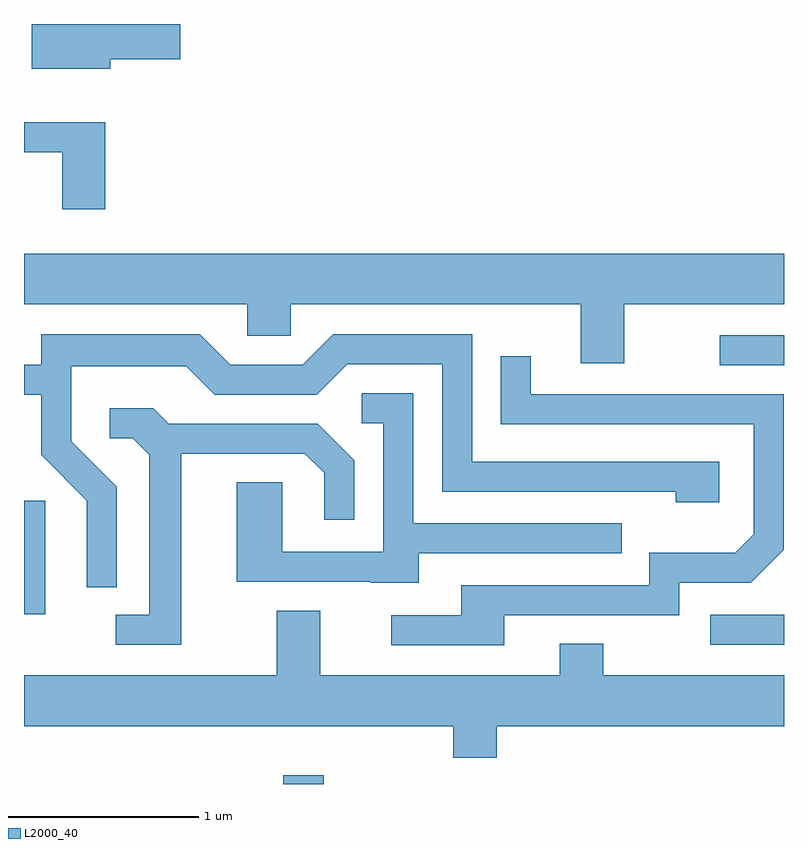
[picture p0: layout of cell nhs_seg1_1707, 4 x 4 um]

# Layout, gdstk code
import gdstk
lib = gdstk.Library(unit=1e-6, precision=1e-09)
def R(c, l, rs):  # rectangles x0, y0, x1, y1
    for r in rs: c.add(gdstk.rectangle(r[:2], r[2:], *l))
def P(c, l, *ps):  # polygons
    for p in ps: c.add(gdstk.Polygon(p, *l))
L2000_40 = (2000, 40)

nhs_seg1_1707 = lib.new_cell('nhs_seg1_1707')
R(nhs_seg1_1707, L2000_40, [(238.976,903.712,239.189,903.759), (241.223,904.446,241.611,904.604), (237.611,904.606,237.724,905.204), (241.273,905.916,241.611,906.074)])
P(nhs_seg1_1707, L2000_40, [(238.064,907.526),(238.434,907.526),(238.434,907.712),(237.651,907.712),(237.651,907.476),(238.064,907.476)],
  [(238.039,907.194),(237.611,907.194),(237.611,907.036),(237.811,907.036),(237.811,906.736),(238.039,906.736)],
  [(240.769,906.236),(241.611,906.236),(241.611,906.504),(237.611,906.504),(237.611,906.236),(238.786,906.236),(238.786,906.071),(239.014,906.071),(239.014,906.236),(240.541,906.236),(240.541,905.926),(240.769,905.926)],
  [(238.099,905.277),(237.859,905.517),(237.859,905.911),(238.464,905.911),(238.614,905.761),(239.152,905.761),(239.312,905.921),(239.811,905.921),(239.811,905.251),(241.041,905.251),(241.041,905.196),(241.269,905.196),(241.269,905.409),(239.969,905.409),(239.969,906.079),(239.239,906.079),(239.079,905.919),(238.697,905.919),(238.537,906.079),(237.701,906.079),(237.701,905.919),(237.611,905.919),(237.611,905.761),(237.701,905.761),(237.701,905.444),(237.941,905.204),(237.941,904.748),(238.099,904.748)],
  [(240.139,904.601),(241.059,904.601),(241.059,904.771),(241.437,904.771),(241.609,904.944),(241.609,905.764),(240.279,905.764),(240.279,905.963),(240.121,905.963),(240.121,905.606),(241.451,905.606),(241.451,905.027),(241.354,904.929),(240.901,904.929),(240.901,904.759),(239.911,904.759),(239.911,904.599),(239.543,904.599),(239.543,904.441),(240.139,904.441)],
  [(239.689,904.926),(240.758,904.926),(240.758,905.084),(239.659,905.084),(239.659,905.769),(239.388,905.769),(239.388,905.611),(239.501,905.611),(239.501,904.934),(238.969,904.934),(238.969,905.299),(238.731,905.299),(238.731,904.776),(239.435,904.776),(239.435,904.771),(239.689,904.771)],
  [(238.439,905.451),(239.089,905.451),(239.191,905.349),(239.191,905.103),(239.349,905.103),(239.349,905.417),(239.157,905.609),(238.372,905.609),(238.292,905.689),(238.063,905.689),(238.063,905.531),(238.184,905.531),(238.271,905.444),(238.271,904.604),(238.093,904.604),(238.093,904.446),(238.439,904.446)],
  [(240.099,904.016),(241.611,904.016),(241.611,904.284),(240.659,904.284),(240.659,904.449),(240.431,904.449),(240.431,904.284),(239.169,904.284),(239.169,904.624),(238.941,904.624),(238.941,904.284),(237.611,904.284),(237.611,904.016),(239.871,904.016),(239.871,903.851),(240.099,903.851)])

lib.write_gds('nhs_seg1_1707.gds')
